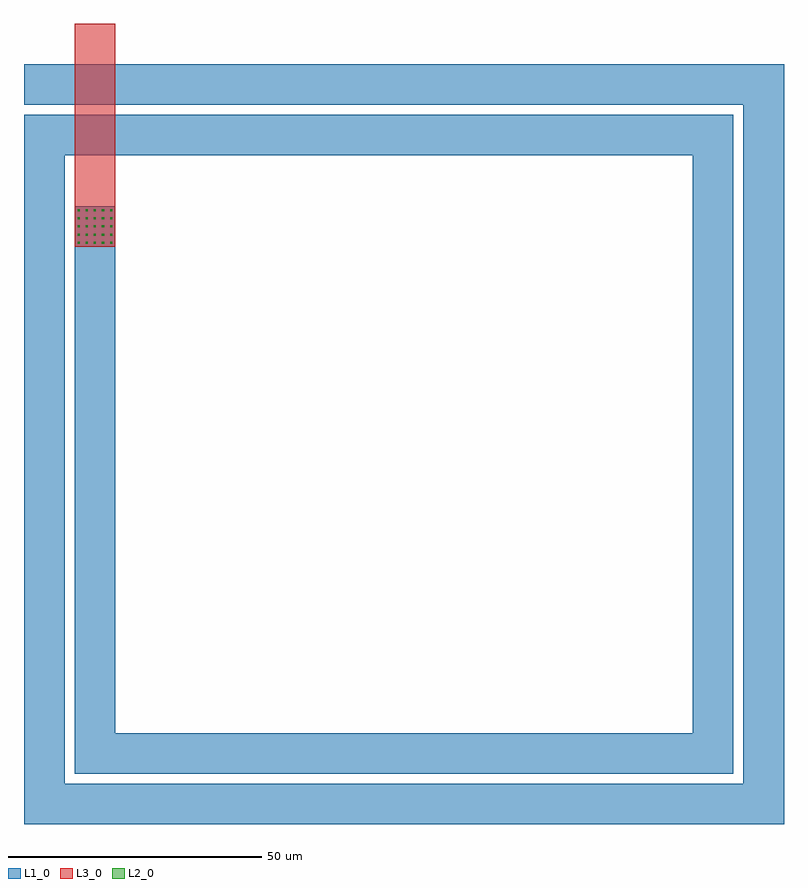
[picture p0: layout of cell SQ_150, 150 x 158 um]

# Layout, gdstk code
import gdstk
lib = gdstk.Library(unit=1e-6, precision=1e-09)
def R(c, l, rs):  # rectangles x0, y0, x1, y1
    for r in rs: c.add(gdstk.rectangle(r[:2], r[2:], *l))
def A(c, l, x, y, w, h, nx, ny, dx, dy):  # array of equal rectangles
    R(c, l, [(x+i*dx, y+j*dy, x+i*dx+w, y+j*dy+h) for i in range(nx) for j in range(ny)])
def P(c, l, *ps):  # polygons
    for p in ps: c.add(gdstk.Polygon(p, *l))
L1_0 = (1, 0)
L2_0 = (2, 0)
L3_0 = (3, 0)

sq_150 = lib.new_cell('SQ_150')
R(sq_150, L1_0, [(209.995,314.005,217.985,321.995)])
P(sq_150, L1_0, [(200,342),(200,350),(350,350),(342,342)],
  [(350,200),(342,208),(342,342),(350,350)],
  [(200,200),(208,208),(342,208),(350,200)],
  [(200,200),(200,340),(208,332),(208,208)],
  [(208,332),(200,340),(340,340),(332,332)],
  [(340,210),(332,218),(332,332),(340,340)],
  [(210,210),(218,218),(332,218),(340,210)],
  [(210,210),(210,322),(218,322),(218,218)])
A(sq_150, L2_0, 210.59, 314.59, 0.4, 0.4, 5, 5, 1.6, 1.6)
R(sq_150, L3_0, [(210,314,218,358), (209.995,314.005,217.985,321.995)])

lib.write_gds('SQ_150.gds')
